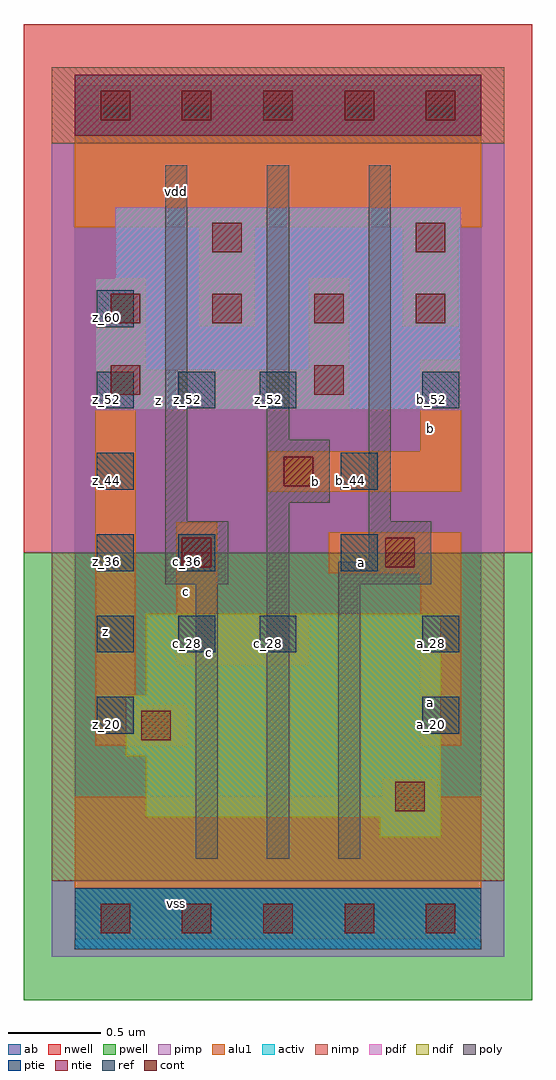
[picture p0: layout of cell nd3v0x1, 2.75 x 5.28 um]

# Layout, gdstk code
import gdstk
lib = gdstk.Library(unit=1e-6, precision=2.5e-09)
def R(c, l, rs):  # rectangles x0, y0, x1, y1
    for r in rs: c.add(gdstk.rectangle(r[:2], r[2:], *l))
def A(c, l, x, y, w, h, nx, ny, dx, dy):  # array of equal rectangles
    R(c, l, [(x+i*dx, y+j*dy, x+i*dx+w, y+j*dy+h) for i in range(nx) for j in range(ny)])
ndif = (3, 0)
pdif = (4, 0)
ntie = (5, 0)
ptie = (6, 0)
ref = (24, 0)
cont = (25, 0)
pwell = (41, 0)
nwell = (42, 0)
activ = (43, 0)
pimp = (44, 0)
nimp = (45, 0)
poly = (46, 0)
alu1 = (49, 0)
ab = (63, 0)

nd3v0x1 = lib.new_cell('nd3v0x1')
R(nd3v0x1, ndif, [(1.65,0.44,1.98,0.55), (0.385,0.55,1.98,0.88), (0.275,0.88,1.98,1.21), (0.385,1.21,1.98,1.65)])
R(nd3v0x1, pdif, [(0.11,2.75,2.09,3.465), (0.22,3.465,2.09,3.85)])
R(nd3v0x1, ntie, [(0,4.235,2.2,4.565)])
R(nd3v0x1, ptie, [(0,-0.165,2.2,0.165)])
A(nd3v0x1, ref, 0.12, 1.44, 0.2, 0.2, 3, 2, 0.44, 1.32)
R(nd3v0x1, ref, [(0.12,1,0.32,1.2), (1.88,1,2.08,1.2), (1.88,1.44,2.08,1.64), (0.12,1.88,0.32,2.08), (0.56,1.88,0.76,2.08), (1.44,1.88,1.64,2.08), (0.12,2.32,0.32,2.52), (1.44,2.32,1.64,2.52), (1.88,2.76,2.08,2.96), (0.12,3.2,0.32,3.4)])
A(nd3v0x1, cont, 0.14, -0.08, 0.16, 0.16, 5, 2, 0.44, 4.4)
A(nd3v0x1, cont, 0.195, 3.22, 0.16, 0.16, 4, 1, 0.55, 0)
R(nd3v0x1, cont, [(1.735,0.58,1.895,0.74), (0.36,0.965,0.52,1.125), (0.58,1.9,0.74,2.06), (1.68,1.9,1.84,2.06), (1.13,2.34,1.29,2.5), (0.195,2.835,0.355,2.995), (1.295,2.835,1.455,2.995), (0.745,3.605,0.905,3.765), (1.845,3.605,2.005,3.765)])
R(nd3v0x1, pwell, [(-0.275,-0.44,2.475,1.98)])
R(nd3v0x1, nwell, [(-0.275,1.98,2.475,4.84)])
R(nd3v0x1, activ, [(0,-0.165,2.2,0.165), (1.65,0.44,1.98,0.55), (0.385,0.55,1.98,0.88), (0.275,0.88,1.98,1.21), (0.385,1.21,1.98,1.65), (0.11,2.75,2.09,3.465), (0.22,3.465,2.09,3.85), (0,4.235,2.2,4.565)])
R(nd3v0x1, pimp, [(-0.125,-0.205,2.325,0.205), (-0.125,1.98,2.325,4.195)])
R(nd3v0x1, nimp, [(-0.125,0.205,2.325,1.98), (-0.125,4.195,2.325,4.605)])
R(nd3v0x1, poly, [(0.655,0.325,0.775,1.81), (1.04,0.325,1.16,2.25), (1.425,0.325,1.545,1.81), (0.49,1.81,0.83,2.15), (1.425,1.81,1.93,1.93), (1.59,1.93,1.93,2.15), (0.49,2.15,0.61,4.075), (1.59,2.15,1.71,4.075), (1.04,2.25,1.38,2.59), (1.04,2.59,1.16,4.075)])
R(nd3v0x1, alu1, [(0,-0.11,2.2,0.66), (1.665,0.66,1.965,0.755), (0.11,0.935,0.605,1.155), (1.87,0.935,2.09,1.87), (0.11,1.155,0.33,2.75), (0.55,1.375,1.265,1.65), (0.55,1.65,0.77,2.145), (1.375,1.87,2.09,2.09), (1.045,2.31,2.09,2.53), (1.87,2.53,2.09,3.025), (0.11,2.75,1.485,2.97), (0.11,2.97,0.385,3.465), (1.265,2.97,1.485,3.465), (0.675,3.205,0.975,3.74), (1.775,3.205,2.075,3.74), (0,3.74,2.2,4.51)])
R(nd3v0x1, ab, [(0,0,2.2,4.4)])
nd3v0x1.add(gdstk.Label('vss', (0.55,0.0825), layer=49, texttype=0))
nd3v0x1.add(gdstk.Label('a', (1.925,1.1675), layer=49, texttype=0))
nd3v0x1.add(gdstk.Label('c', (0.7275,1.4425), layer=49, texttype=0))
nd3v0x1.add(gdstk.Label('a', (1.5525,1.925), layer=49, texttype=0))
nd3v0x1.add(gdstk.Label('c', (0.605,1.7725), layer=49, texttype=0))
nd3v0x1.add(gdstk.Label('b', (1.305,2.365), layer=49, texttype=0))
nd3v0x1.add(gdstk.Label('b', (1.925,2.6525), layer=49, texttype=0))
nd3v0x1.add(gdstk.Label('z', (0.165,1.5525), layer=49, texttype=0))
nd3v0x1.add(gdstk.Label('z', (0.4525,2.805), layer=49, texttype=0))
nd3v0x1.add(gdstk.Label('vdd', (0.55,3.9325), layer=49, texttype=0))
nd3v0x1.add(gdstk.Label('a_20', (1.93,1.05), layer=24, texttype=0))
nd3v0x1.add(gdstk.Label('z_60', (0.17,3.25), layer=24, texttype=0))
nd3v0x1.add(gdstk.Label('z_52', (0.17,2.81), layer=24, texttype=0))
nd3v0x1.add(gdstk.Label('z_44', (0.17,2.37), layer=24, texttype=0))
nd3v0x1.add(gdstk.Label('z_36', (0.17,1.93), layer=24, texttype=0))
nd3v0x1.add(gdstk.Label('z_28', (0.17,1.49), layer=24, texttype=0))
nd3v0x1.add(gdstk.Label('z_20', (0.17,1.05), layer=24, texttype=0))
nd3v0x1.add(gdstk.Label('b_52', (1.93,2.81), layer=24, texttype=0))
nd3v0x1.add(gdstk.Label('a_28', (1.93,1.49), layer=24, texttype=0))
nd3v0x1.add(gdstk.Label('b_44', (1.49,2.37), layer=24, texttype=0))
nd3v0x1.add(gdstk.Label('a_36', (1.49,1.93), layer=24, texttype=0))
nd3v0x1.add(gdstk.Label('z_52', (1.05,2.81), layer=24, texttype=0))
nd3v0x1.add(gdstk.Label('c_28', (1.05,1.49), layer=24, texttype=0))
nd3v0x1.add(gdstk.Label('z_52', (0.61,2.81), layer=24, texttype=0))
nd3v0x1.add(gdstk.Label('c_36', (0.61,1.93), layer=24, texttype=0))
nd3v0x1.add(gdstk.Label('c_28', (0.61,1.49), layer=24, texttype=0))

lib.write_gds('nd3v0x1.gds')
